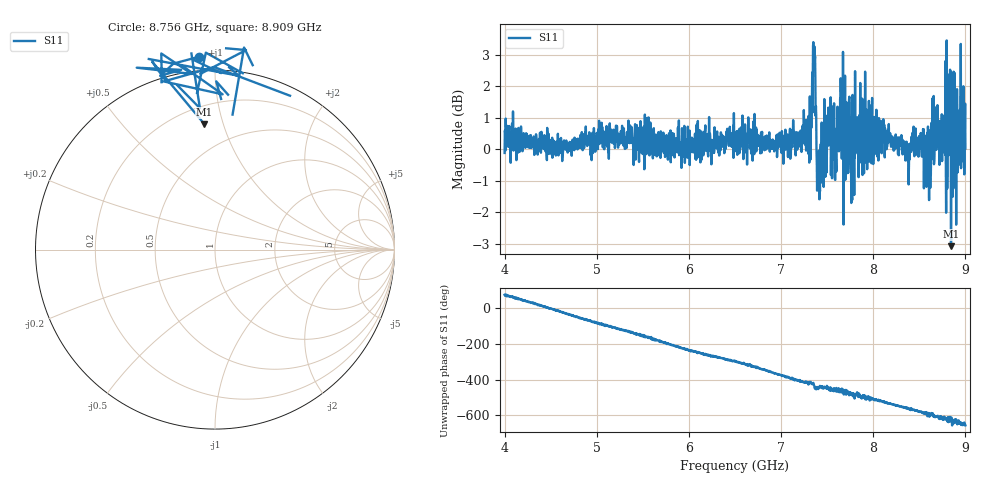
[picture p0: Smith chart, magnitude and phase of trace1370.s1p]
! Created with skrf 1.8.0 (http://scikit-rf.org).
# Hz S RI R 50.0
!freq ReS11 ImS11
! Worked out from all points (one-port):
!   1601 points, 4 GHz to 9 GHz, reference 50 ohm
!   lowest |S11| = -3.1 dB at 8.844 GHz (marker M1), VSWR 5.70, Z = 15.8 + j43.4 ohm
!   |S11| at or under -10 dB: nowhere
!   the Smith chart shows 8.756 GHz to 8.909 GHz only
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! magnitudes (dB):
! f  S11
! 4 GHz  -0.1
! 4.1 GHz  0.5
! 4.625 GHz  -0.4
! 5.25 GHz  0.2
! 5.875 GHz  -0.1
! 6.5 GHz  0.2
! 7.125 GHz  0.4
! 7.294 GHz  -0.1
! 7.356 GHz  3.1
! 7.409 GHz  -1.1
! 7.512 GHz  1.3
! 7.609 GHz  0.0
! 7.669 GHz  0.8
! 7.703 GHz  0.1
! 7.75 GHz  0.4
! 7.822 GHz  0.0
! 7.909 GHz  0.6
! 7.928 GHz  1.0
! 8.375 GHz  -0.1
! 8.522 GHz  0.1
! 8.603 GHz  -0.8
! 8.659 GHz  -0.5
! 8.766 GHz  0.2
! 8.816 GHz  -0.2
! 8.844 GHz  -3.1
! 8.919 GHz  -0.1
! 8.959 GHz  1.7
! 9 GHz  0.0
